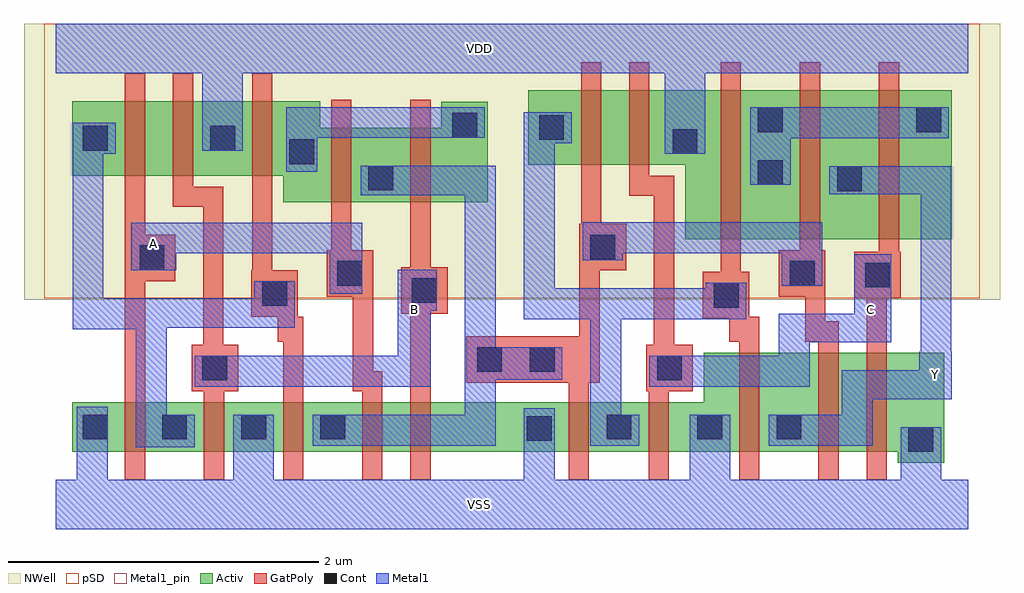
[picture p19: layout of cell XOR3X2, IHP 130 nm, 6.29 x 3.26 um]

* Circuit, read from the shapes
.subckt XOR3X2 A B C VDD VSS Y
XM1 n1 A VSS VSUBS sg13_lv_nmos w=0.32u l=0.13u
XM2 VSS B n1 VSUBS sg13_lv_nmos w=0.32u l=0.13u
XM3 n2 n1 VSS VSUBS sg13_lv_nmos w=0.32u l=0.13u
XM4 n3 A n2 VSUBS sg13_lv_nmos w=0.32u l=0.13u
XM5 VSS B n3 VSUBS sg13_lv_nmos w=0.32u l=0.13u
XM6 n4 n2 VSS VSUBS sg13_lv_nmos w=0.32u l=0.13u
XM7 VSS C n4 VSUBS sg13_lv_nmos w=0.32u l=0.13u
XM8 Y n4 VSS VSUBS sg13_lv_nmos w=0.64u l=0.13u
XM9 n5 n2 Y VSUBS sg13_lv_nmos w=0.64u l=0.13u
XM10 VSS C n5 VSUBS sg13_lv_nmos w=0.64u l=0.13u
XM11 n6 A n1 n7 sg13_lv_pmos w=0.48u l=0.13u
XM12 VDD B n6 n7 sg13_lv_pmos w=0.48u l=0.13u
XM13 n8 n1 VDD n7 sg13_lv_pmos w=0.48u l=0.13u
XM14 n2 A n8 n7 sg13_lv_pmos w=0.48u l=0.13u
XM15 n8 B n2 n7 sg13_lv_pmos w=0.48u l=0.13u
XM16 n9 n2 n4 n7 sg13_lv_pmos w=0.48u l=0.13u
XM17 VDD C n9 n7 sg13_lv_pmos w=0.48u l=0.13u
XM18 n10 n4 VDD n7 sg13_lv_pmos w=0.96u l=0.13u
XM19 Y n2 n10 n7 sg13_lv_pmos w=0.96u l=0.13u
XM20 n10 C Y n7 sg13_lv_pmos w=0.96u l=0.13u
.ends

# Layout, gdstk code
import gdstk
lib = gdstk.Library(unit=1e-6, precision=1e-09)
def R(c, l, rs):  # rectangles x0, y0, x1, y1
    for r in rs: c.add(gdstk.rectangle(r[:2], r[2:], *l))
def A(c, l, x, y, w, h, nx, ny, dx, dy):  # array of equal rectangles
    R(c, l, [(x+i*dx, y+j*dy, x+i*dx+w, y+j*dy+h) for i in range(nx) for j in range(ny)])
def P(c, l, *ps):  # polygons
    for p in ps: c.add(gdstk.Polygon(p, *l))
Activ = (1, 0)
GatPoly = (5, 0)
Cont = (6, 0)
Metal1 = (8, 0)
Metal1_pin = (8, 2)
pSD = (14, 0)
NWell = (31, 0)

xor3x2 = lib.new_cell('XOR3X2')
P(xor3x2, Activ, [(4.055,1.71),(4.055,2.19),(3.045,2.19),(3.045,2.67),(5.775,2.67),(5.775,1.71)],
  [(5.425,0.27),(5.425,0.34),(0.105,0.34),(0.105,0.66),(4.175,0.66),(4.175,0.98),(5.725,0.98),(5.725,0.27)],
  [(1.465,1.95),(1.465,2.12),(0.105,2.12),(0.105,2.6),(1.705,2.6),(1.705,2.43),(2.485,2.43),(2.485,2.595),(2.785,2.595),(2.785,1.95)])
P(xor3x2, GatPoly, [(4.915,0.16),(4.915,1.05),(4.83,1.05),(4.83,1.34),(4.66,1.34),(4.66,1.64),(4.795,1.64),(4.795,2.85),(4.925,2.85),(4.925,1.64),(4.96,1.64),(4.96,1.18),(5.045,1.18),(5.045,0.16)],
  [(4.405,0.16),(4.405,1.05),(4.34,1.05),(4.34,1.2),(4.17,1.2),(4.17,1.5),(4.285,1.5),(4.285,2.85),(4.415,2.85),(4.415,1.5),(4.47,1.5),(4.47,1.21),(4.535,1.21),(4.535,0.16)],
  [(5.225,0.16),(5.225,1.33),(5.145,1.33),(5.145,1.63),(5.305,1.63),(5.305,2.85),(5.435,2.85),(5.435,1.63),(5.445,1.63),(5.445,1.33),(5.355,1.33),(5.355,0.16)],
  [(3.82,0.16),(3.82,0.73),(3.805,0.73),(3.805,1.03),(3.855,1.03),(3.855,1.99),(3.695,1.99),(3.695,2.85),(3.825,2.85),(3.825,2.12),(3.985,2.12),(3.985,1.03),(4.105,1.03),(4.105,0.73),(3.95,0.73),(3.95,0.16)],
  [(1.975,0.16),(1.975,0.73),(1.915,0.73),(1.915,1.34),(1.745,1.34),(1.745,1.64),(1.775,1.64),(1.775,2.61),(1.905,2.61),(1.905,1.64),(2.045,1.64),(2.045,0.86),(2.105,0.86),(2.105,0.16)],
  [(1.465,0.16),(1.465,1.05),(1.43,1.05),(1.43,1.21),(1.26,1.21),(1.26,1.51),(1.265,1.51),(1.265,2.78),(1.395,2.78),(1.395,1.51),(1.56,1.51),(1.56,1.21),(1.595,1.21),(1.595,0.16)],
  [(3.305,0.16),(3.305,0.785),(2.645,0.785),(2.645,1.085),(3.375,1.085),(3.375,1.81),(3.385,1.81),(3.385,2.85),(3.515,2.85),(3.515,1.81),(3.675,1.81),(3.675,1.51),(3.505,1.51),(3.505,0.785),(3.435,0.785),(3.435,0.16)],
  [(2.285,0.16),(2.285,1.23),(2.225,1.23),(2.225,1.53),(2.285,1.53),(2.285,2.61),(2.415,2.61),(2.415,1.53),(2.525,1.53),(2.525,1.23),(2.415,1.23),(2.415,0.16)],
  [(0.955,0.16),(0.955,0.73),(0.875,0.73),(0.875,1.03),(0.95,1.03),(0.95,1.92),(0.755,1.92),(0.755,2.78),(0.885,2.78),(0.885,2.05),(1.08,2.05),(1.08,1.03),(1.175,1.03),(1.175,0.73),(1.085,0.73),(1.085,0.16)],
  [(0.445,0.16),(0.445,2.78),(0.575,2.78),(0.575,1.74),(0.77,1.74),(0.77,1.44),(0.575,1.44),(0.575,0.16)])
A(xor3x2, Cont, 0.175, 0.42, 0.16, 0.16, 4, 1, 0.51, 0)
R(xor3x2, Cont, [(5.495,0.34,5.655,0.5), (3.035,0.41,3.195,0.57), (3.55,0.42,3.71,0.58), (4.135,0.42,4.295,0.58), (4.645,0.42,4.805,0.58), (0.945,0.8,1.105,0.96), (3.875,0.8,4.035,0.96), (2.715,0.855,2.875,1.015), (3.055,0.855,3.215,1.015), (4.24,1.27,4.4,1.43), (1.33,1.28,1.49,1.44), (2.295,1.3,2.455,1.46), (5.215,1.4,5.375,1.56), (1.815,1.41,1.975,1.57), (4.73,1.41,4.89,1.57), (0.54,1.51,0.7,1.67), (3.445,1.58,3.605,1.74), (5.035,2.02,5.195,2.18), (2.015,2.025,2.175,2.185), (4.525,2.06,4.685,2.22), (1.505,2.195,1.665,2.355), (3.975,2.26,4.135,2.42), (0.175,2.28,0.335,2.44), (0.995,2.28,1.155,2.44), (3.115,2.35,3.275,2.51), (2.555,2.365,2.715,2.525), (4.525,2.4,4.685,2.56), (5.545,2.4,5.705,2.56)])
P(xor3x2, Metal1, [(0,-0.16),(0,0.16),(0.135,0.16),(0.135,0.63),(0.335,0.63),(0.335,0.16),(1.145,0.16),(1.145,0.58),(1.405,0.58),(1.405,0.16),(3.015,0.16),(3.015,0.62),(3.215,0.62),(3.215,0.16),(4.085,0.16),(4.085,0.58),(4.345,0.58),(4.345,0.16),(5.445,0.16),(5.445,0.5),(5.705,0.5),(5.705,0.16),(5.88,0.16),(5.88,-0.16)],
  [(4.595,0.38),(4.595,0.58),(5.065,0.58),(5.065,0.865),(5.565,0.865),(5.565,0.985),(5.575,0.985),(5.575,2),(4.985,2),(4.985,2.18),(5.77,2.18),(5.77,0.985),(5.775,0.985),(5.775,0.68),(5.265,0.68),(5.265,0.38)],
  [(3.925,2.26),(3.925,2.78),(1.205,2.78),(1.205,2.28),(0.945,2.28),(0.945,2.78),(0,2.78),(0,3.1),(5.88,3.1),(5.88,2.78),(4.185,2.78),(4.185,2.26)],
  [(4.475,2.06),(4.475,2.56),(5.755,2.56),(5.755,2.36),(4.735,2.36),(4.735,2.06)],
  [(3.825,0.76),(3.825,0.96),(4.66,0.96),(4.66,1.23),(5.145,1.23),(5.145,1.615),(5.385,1.615),(5.385,1.045),(4.86,1.045),(4.86,0.76)],
  [(1.655,0.38),(1.655,0.58),(2.635,0.58),(2.635,1.995),(1.965,1.995),(1.965,2.185),(2.835,2.185),(2.835,1.015),(3.265,1.015),(3.265,0.805),(2.835,0.805),(2.835,0.38)],
  [(1.485,2.145),(1.485,2.56),(2.765,2.56),(2.765,2.365),(1.685,2.365),(1.685,2.145)],
  [(0.895,0.76),(0.895,0.96),(2.205,0.96),(2.205,1.515),(2.455,1.515),(2.455,1.25),(2.415,1.25),(2.415,0.76)],
  [(4.68,1.41),(4.68,1.62),(3.655,1.62),(3.655,1.575),(3.395,1.575),(3.395,1.82),(4.94,1.82),(4.94,1.41)],
  [(3.445,0.38),(3.445,1.195),(3.015,1.195),(3.015,2.53),(3.325,2.53),(3.325,2.33),(3.215,2.33),(3.215,1.395),(4.19,1.395),(4.19,1.43),(4.45,1.43),(4.45,1.195),(3.645,1.195),(3.645,0.58),(3.76,0.58),(3.76,0.38)],
  [(1.765,1.36),(1.765,1.62),(0.775,1.62),(0.775,1.51),(0.485,1.51),(0.485,1.815),(1.975,1.815),(1.975,1.36)],
  [(0.515,0.37),(0.515,1.13),(0.11,1.13),(0.11,2.46),(0.385,2.46),(0.385,2.26),(0.305,2.26),(0.305,1.33),(1.28,1.33),(1.28,1.44),(1.54,1.44),(1.54,1.14),(0.715,1.14),(0.715,0.58),(0.895,0.58),(0.895,0.37)])
P(xor3x2, Metal1_pin, [(0,-0.16),(0,0.16),(0.135,0.16),(0.135,0.63),(0.335,0.63),(0.335,0.16),(1.145,0.16),(1.145,0.58),(1.405,0.58),(1.405,0.16),(3.015,0.16),(3.015,0.62),(3.215,0.62),(3.215,0.16),(4.085,0.16),(4.085,0.58),(4.345,0.58),(4.345,0.16),(5.445,0.16),(5.445,0.5),(5.705,0.5),(5.705,0.16),(5.88,0.16),(5.88,-0.16)],
  [(3.925,2.26),(3.925,2.78),(1.205,2.78),(1.205,2.28),(0.945,2.28),(0.945,2.78),(0,2.78),(0,3.1),(5.88,3.1),(5.88,2.78),(4.185,2.78),(4.185,2.26)],
  [(4.595,0.38),(4.595,0.58),(5.065,0.58),(5.065,0.865),(5.565,0.865),(5.565,0.985),(5.575,0.985),(5.575,2),(4.985,2),(4.985,2.18),(5.77,2.18),(5.77,0.985),(5.775,0.985),(5.775,0.68),(5.265,0.68),(5.265,0.38)],
  [(3.825,0.76),(3.825,0.96),(4.66,0.96),(4.66,1.23),(5.145,1.23),(5.145,1.615),(5.385,1.615),(5.385,1.045),(4.86,1.045),(4.86,0.76)],
  [(0.895,0.76),(0.895,0.96),(2.205,0.96),(2.205,1.515),(2.455,1.515),(2.455,1.25),(2.415,1.25),(2.415,0.76)],
  [(1.765,1.36),(1.765,1.62),(0.775,1.62),(0.775,1.51),(0.485,1.51),(0.485,1.815),(1.975,1.815),(1.975,1.36)])
R(xor3x2, pSD, [(-0.075,1.33,5.955,3.1)])
R(xor3x2, NWell, [(-0.205,1.32,6.085,3.1)])
xor3x2.add(gdstk.Label('VDD', (2.73,2.94), layer=8, texttype=25))
xor3x2.add(gdstk.Label('C', (5.25,1.26), layer=8, texttype=25))
xor3x2.add(gdstk.Label('B', (2.31,1.26), layer=8, texttype=25))
xor3x2.add(gdstk.Label('Y', (5.67,0.84), layer=8, texttype=25))
xor3x2.add(gdstk.Label('VSS', (2.73,0), layer=8, texttype=25))
xor3x2.add(gdstk.Label('A', (0.63,1.68), layer=8, texttype=25))

lib.write_gds('XOR3X2.gds')
